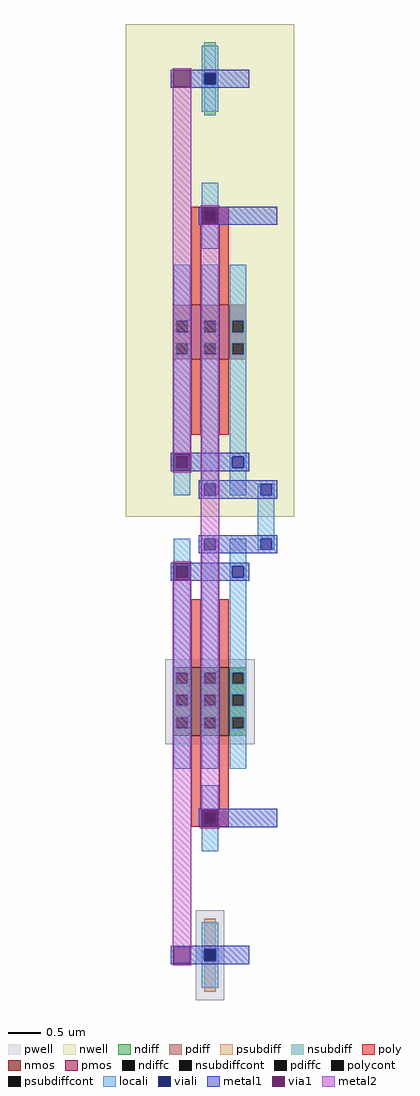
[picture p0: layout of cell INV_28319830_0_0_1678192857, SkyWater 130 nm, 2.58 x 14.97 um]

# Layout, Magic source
magic
tech sky130A
magscale 1 2
<< locali >>
rect 405 1579 413 1613
rect 447 1579 455 1613
rect 405 1445 455 1579
rect 405 1411 413 1445
rect 447 1411 455 1445
<< viali >>
rect 413 1579 447 1613
rect 413 1411 447 1445
<< metal1 >>
rect 226 2462 290 2464
rect 226 2410 232 2462
rect 284 2410 290 2462
rect 226 2408 290 2410
rect 396 1613 464 1624
rect 396 1579 413 1613
rect 447 1579 464 1613
rect 396 1568 464 1579
rect 396 1445 464 1456
rect 396 1411 413 1445
rect 447 1411 464 1445
rect 396 1400 464 1411
rect 226 614 290 616
rect 226 562 232 614
rect 284 562 290 614
rect 226 560 290 562
<< via1 >>
rect 232 2410 284 2462
rect 232 562 284 614
<< metal2 >>
rect 230 2462 286 2468
rect 230 2410 232 2462
rect 284 2410 286 2462
rect 230 614 286 2410
rect 230 562 232 614
rect 284 562 286 614
rect 230 556 286 562
use NMOS_S_54487678_X1_Y1_1678192857_1678192857  NMOS_S_54487678_X1_Y1_1678192857_1678192857_0
transform -1 0 516 0 -1 1512
box 52 56 395 1482
use PMOS_S_99486525_X1_Y1_1678192858_1678192857  PMOS_S_99486525_X1_Y1_1678192858_1678192857_0
transform -1 0 516 0 1 1512
box 0 0 516 1512
<< end >>

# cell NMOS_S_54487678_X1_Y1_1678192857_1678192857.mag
magic
tech sky130A
magscale 1 2
<< pwell >>
rect 215 1206 301 1482
rect 121 436 395 698
<< nmos >>
rect 200 462 230 672
rect 286 462 316 672
<< ndiff >>
rect 147 648 200 672
rect 147 614 155 648
rect 189 614 200 648
rect 147 580 200 614
rect 147 546 155 580
rect 189 546 200 580
rect 147 512 200 546
rect 147 478 155 512
rect 189 478 200 512
rect 147 462 200 478
rect 230 648 286 672
rect 230 614 241 648
rect 275 614 286 648
rect 230 580 286 614
rect 230 546 241 580
rect 275 546 286 580
rect 230 512 286 546
rect 230 478 241 512
rect 275 478 286 512
rect 230 462 286 478
rect 316 648 369 672
rect 316 614 327 648
rect 361 614 369 648
rect 316 580 369 614
rect 316 546 327 580
rect 361 546 369 580
rect 316 512 369 546
rect 316 478 327 512
rect 361 478 369 512
rect 316 462 369 478
<< ndiffc >>
rect 155 614 189 648
rect 155 546 189 580
rect 155 478 189 512
rect 241 614 275 648
rect 241 546 275 580
rect 241 478 275 512
rect 327 614 361 648
rect 327 546 361 580
rect 327 478 361 512
<< psubdiff >>
rect 241 1361 275 1456
rect 241 1232 275 1327
<< psubdiffcont >>
rect 241 1327 275 1361
<< poly >>
rect 200 941 316 951
rect 200 907 241 941
rect 275 907 316 941
rect 200 897 316 907
rect 200 672 230 897
rect 286 672 316 897
rect 200 252 230 462
rect 286 252 316 462
<< polycont >>
rect 241 907 275 941
<< locali >>
rect 233 1361 283 1445
rect 233 1327 241 1361
rect 275 1327 283 1361
rect 233 1243 283 1327
rect 233 941 283 1025
rect 233 907 241 941
rect 275 907 283 941
rect 233 823 283 907
rect 147 648 197 773
rect 147 614 155 648
rect 189 614 197 648
rect 147 580 197 614
rect 147 546 155 580
rect 189 546 197 580
rect 147 512 197 546
rect 147 478 155 512
rect 189 478 197 512
rect 147 185 197 478
rect 147 151 155 185
rect 189 151 197 185
rect 147 67 197 151
rect 233 648 283 773
rect 233 614 241 648
rect 275 614 283 648
rect 233 580 283 614
rect 233 546 241 580
rect 275 546 283 580
rect 233 512 283 546
rect 233 478 241 512
rect 275 478 283 512
rect 233 101 283 478
rect 233 67 241 101
rect 275 67 283 101
rect 319 648 369 773
rect 319 614 327 648
rect 361 614 369 648
rect 319 580 369 614
rect 319 546 327 580
rect 361 546 369 580
rect 319 512 369 546
rect 319 478 327 512
rect 361 478 369 512
rect 319 185 369 478
rect 319 151 327 185
rect 361 151 369 185
rect 319 67 369 151
<< viali >>
rect 241 1327 275 1361
rect 241 907 275 941
rect 155 151 189 185
rect 241 67 275 101
rect 327 151 361 185
<< metal1 >>
rect 138 1370 378 1372
rect 138 1361 318 1370
rect 138 1327 241 1361
rect 275 1327 318 1361
rect 138 1318 318 1327
rect 370 1318 378 1370
rect 138 1316 378 1318
rect 52 941 292 952
rect 52 907 241 941
rect 275 907 292 941
rect 52 896 292 907
rect 138 194 378 196
rect 138 185 318 194
rect 138 151 155 185
rect 189 151 318 185
rect 138 142 318 151
rect 370 142 378 194
rect 138 140 378 142
rect 52 101 292 112
rect 52 67 241 101
rect 275 67 292 101
rect 52 56 292 67
<< via1 >>
rect 318 1318 370 1370
rect 318 185 370 194
rect 318 151 327 185
rect 327 151 361 185
rect 361 151 370 185
rect 318 142 370 151
<< metal2 >>
rect 316 1370 372 1376
rect 316 1318 318 1370
rect 370 1318 372 1370
rect 316 194 372 1318
rect 316 142 318 194
rect 370 142 372 194
rect 316 136 372 142
<< end >>

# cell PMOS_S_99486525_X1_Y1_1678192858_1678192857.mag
magic
tech sky130A
magscale 1 2
<< nwell >>
rect 0 0 516 1512
<< pmos >>
rect 200 483 230 651
rect 286 483 316 651
<< pdiff >>
rect 147 601 200 651
rect 147 567 155 601
rect 189 567 200 601
rect 147 533 200 567
rect 147 499 155 533
rect 189 499 200 533
rect 147 483 200 499
rect 230 601 286 651
rect 230 567 241 601
rect 275 567 286 601
rect 230 533 286 567
rect 230 499 241 533
rect 275 499 286 533
rect 230 483 286 499
rect 316 601 369 651
rect 316 567 327 601
rect 361 567 369 601
rect 316 533 369 567
rect 316 499 327 533
rect 361 499 369 533
rect 316 483 369 499
<< pdiffc >>
rect 155 567 189 601
rect 155 499 189 533
rect 241 567 275 601
rect 241 499 275 533
rect 327 567 361 601
rect 327 499 361 533
<< nsubdiff >>
rect 241 1361 275 1456
rect 241 1232 275 1327
<< nsubdiffcont >>
rect 241 1327 275 1361
<< poly >>
rect 200 941 316 951
rect 200 907 241 941
rect 275 907 316 941
rect 200 897 316 907
rect 200 651 230 897
rect 286 651 316 897
rect 200 252 230 483
rect 286 252 316 483
<< polycont >>
rect 241 907 275 941
<< locali >>
rect 233 1361 283 1445
rect 233 1327 241 1361
rect 275 1327 283 1361
rect 233 1243 283 1327
rect 233 941 283 1025
rect 233 907 241 941
rect 275 907 283 941
rect 233 823 283 907
rect 147 601 197 773
rect 147 567 155 601
rect 189 567 197 601
rect 147 533 197 567
rect 147 499 155 533
rect 189 499 197 533
rect 147 185 197 499
rect 147 151 155 185
rect 189 151 197 185
rect 147 67 197 151
rect 233 601 283 773
rect 233 567 241 601
rect 275 567 283 601
rect 233 533 283 567
rect 233 499 241 533
rect 275 499 283 533
rect 233 101 283 499
rect 233 67 241 101
rect 275 67 283 101
rect 319 601 369 773
rect 319 567 327 601
rect 361 567 369 601
rect 319 533 369 567
rect 319 499 327 533
rect 361 499 369 533
rect 319 185 369 499
rect 319 151 327 185
rect 361 151 369 185
rect 319 67 369 151
<< viali >>
rect 241 1327 275 1361
rect 241 907 275 941
rect 155 151 189 185
rect 241 67 275 101
rect 327 151 361 185
<< metal1 >>
rect 138 1370 378 1372
rect 138 1361 318 1370
rect 138 1327 241 1361
rect 275 1327 318 1361
rect 138 1318 318 1327
rect 370 1318 378 1370
rect 138 1316 378 1318
rect 52 941 292 952
rect 52 907 241 941
rect 275 907 292 941
rect 52 896 292 907
rect 138 194 378 196
rect 138 185 318 194
rect 138 151 155 185
rect 189 151 318 185
rect 138 142 318 151
rect 370 142 378 194
rect 138 140 378 142
rect 52 101 292 112
rect 52 67 241 101
rect 275 67 292 101
rect 52 56 292 67
<< via1 >>
rect 318 1318 370 1370
rect 318 185 370 194
rect 318 151 327 185
rect 327 151 361 185
rect 361 151 370 185
rect 318 142 370 151
<< metal2 >>
rect 316 1370 372 1376
rect 316 1318 318 1370
rect 370 1318 372 1370
rect 316 194 372 1318
rect 316 142 318 194
rect 370 142 372 194
rect 316 136 372 142
<< end >>
